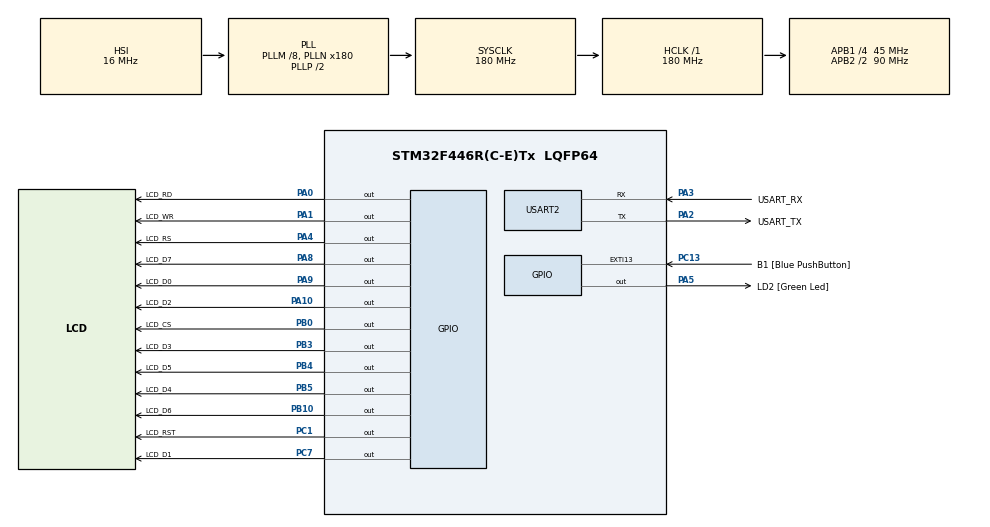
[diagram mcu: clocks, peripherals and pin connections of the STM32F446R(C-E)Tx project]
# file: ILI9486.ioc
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Mcu.Family=STM32F4
Mcu.Name=STM32F446R(C-E)Tx
Mcu.Package=LQFP64
NVIC.PriorityGroup=NVIC_PRIORITYGROUP_0
PA0-WKUP.GPIO_Label=LCD_RD
PA0-WKUP.Signal=GPIO_Output
PA1.GPIO_Label=LCD_WR
PA1.Signal=GPIO_Output
PA10.GPIO_Label=LCD_D2
PA10.Signal=GPIO_Output
PA13.GPIO_Label=TMS
PA13.Mode=Serial_Wire
PA13.Signal=SYS_JTMS-SWDIO
PA14.GPIO_Label=TCK
PA14.Mode=Serial_Wire
PA14.Signal=SYS_JTCK-SWCLK
PA2.GPIO_Label=USART_TX
PA2.Mode=Asynchronous
PA2.Signal=USART2_TX
PA3.GPIO_Label=USART_RX
PA3.Mode=Asynchronous
PA3.Signal=USART2_RX
PA4.GPIO_Label=LCD_RS
PA4.Signal=GPIO_Output
PA5.GPIO_Label=LD2 [Green Led]
PA5.Signal=GPIO_Output
PA8.GPIO_Label=LCD_D7
PA8.Signal=GPIO_Output
PA9.GPIO_Label=LCD_D0
PA9.Signal=GPIO_Output
PB0.GPIO_Label=LCD_CS
PB0.Signal=GPIO_Output
PB10.GPIO_Label=LCD_D6
PB10.Signal=GPIO_Output
PB3.GPIO_Label=LCD_D3
PB3.Signal=GPIO_Output
PB4.GPIO_Label=LCD_D5
PB4.Signal=GPIO_Output
PB5.GPIO_Label=LCD_D4
PB5.Signal=GPIO_Output
PC1.GPIO_Label=LCD_RST
PC1.Signal=GPIO_Output
PC13.GPIO_Label=B1 [Blue PushButton]
PC13.GPIO_ModeDefaultEXTI=GPIO_MODE_IT_FALLING
PC13.Signal=GPXTI13
PC14-OSC32_IN.Mode=LSE-External-Oscillator
PC14-OSC32_IN.Signal=RCC_OSC32_IN
PC15-OSC32_OUT.Mode=LSE-External-Oscillator
PC15-OSC32_OUT.Signal=RCC_OSC32_OUT
PC7.GPIO_Label=LCD_D1
PC7.Signal=GPIO_Output
PH0-OSC_IN.Mode=HSE-External-Oscillator
PH0-OSC_IN.Signal=RCC_OSC_IN
PH1-OSC_OUT.Mode=HSE-External-Oscillator
PH1-OSC_OUT.Signal=RCC_OSC_OUT
ProjectManager.HeapSize=0x200
ProjectManager.StackSize=0x400
ProjectManager.TargetToolchain=SW4STM32
RCC.48MHZClocksFreq_Value=84000000
RCC.AHBFreq_Value=180000000
RCC.APB1CLKDivider=RCC_HCLK_DIV4
RCC.APB1Freq_Value=45000000
RCC.APB1TimFreq_Value=90000000
RCC.APB2CLKDivider=RCC_HCLK_DIV2
RCC.APB2Freq_Value=90000000
RCC.APB2TimFreq_Value=180000000
RCC.CortexFreq_Value=180000000
RCC.FLatency-AdvancedSettings=FLASH_LATENCY_5
RCC.HCLKFreq_Value=180000000
RCC.HSE_VALUE=8000000
RCC.HSI_VALUE=16000000
RCC.PLLM=8
RCC.PLLN=180
RCC.SYSCLKFreq_VALUE=180000000
RCC.SYSCLKSource=RCC_SYSCLKSOURCE_PLLCLK
RCC.USBFreq_Value=180000000
RCC.VCOOutputFreq_Value=360000000
USART2.VirtualMode=VM_ASYNC
board=NUCLEO-F446RE

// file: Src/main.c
/* USER CODE BEGIN Header */
/**
  ******************************************************************************
  * @file           : main.c
  * @brief          : Main program body
  ******************************************************************************
  * @attention
  *
  * <h2><center>&copy; Copyright (c) 2020 STMicroelectronics.
  * All rights reserved.</center></h2>
  *
  * This software component is licensed by ST under BSD 3-Clause license,
  * the "License"; You may not use this file except in compliance with the
  * License. You may obtain a copy of the License at:
  *                        opensource.org/licenses/BSD-3-Clause
  *
  ******************************************************************************
  */
/* USER CODE END Header */

#include "main.h"

UART_HandleTypeDef huart2;

void SystemClock_Config(void);
static void MX_GPIO_Init(void);
static void MX_USART2_UART_Init(void);

/* USER CODE BEGIN 0 */
typedef struct
{
    uint16_t width;
    uint16_t height;
    uint16_t id;
    uint8_t  dir;
    uint16_t  wramcmd;
    uint16_t  rramcmd;
    uint16_t  setxcmd;
    uint16_t  setycmd;
}_lcd_dev;

_lcd_dev lcddev;

#define LCD_W 320
#define LCD_H 480

#define LCD_CS_SET  HAL_GPIO_WritePin(LCD_CS_GPIO_Port, LCD_CS_Pin, GPIO_PIN_SET);
#define LCD_RS_SET  HAL_GPIO_WritePin(LCD_RS_GPIO_Port, LCD_RS_Pin, GPIO_PIN_SET);
#define LCD_RST_SET HAL_GPIO_WritePin(LCD_RST_GPIO_Port, LCD_RST_Pin, GPIO_PIN_SET);
#define LCD_WR_SET  HAL_GPIO_WritePin(LCD_WR_GPIO_Port, LCD_WR_Pin, GPIO_PIN_SET);
#define LCD_RD_SET  HAL_GPIO_WritePin(LCD_RD_GPIO_Port, LCD_RD_Pin, GPIO_PIN_SET);

#define LCD_CS_CLR  HAL_GPIO_WritePin(LCD_CS_GPIO_Port, LCD_CS_Pin, GPIO_PIN_RESET);
#define LCD_RS_CLR  HAL_GPIO_WritePin(LCD_RS_GPIO_Port, LCD_RS_Pin, GPIO_PIN_RESET);
#define LCD_RST_CLR HAL_GPIO_WritePin(LCD_RST_GPIO_Port, LCD_RST_Pin, GPIO_PIN_RESET);
#define LCD_WR_CLR  HAL_GPIO_WritePin(LCD_WR_GPIO_Port, LCD_WR_Pin, GPIO_PIN_RESET);
#define LCD_RD_CLR  HAL_GPIO_WritePin(LCD_RD_GPIO_Port, LCD_RD_Pin, GPIO_PIN_RESET);

#define WHITE       0xFFFF
#define BLACK       0x0000
#define BLUE        0x001F
#define BRED        0XF81F
#define GRED        0XFFE0
#define GBLUE       0X07FF
#define RED         0xF800
#define MAGENTA     0xF81F
#define GREEN       0x07E0
#define CYAN        0x7FFF
#define YELLOW      0xFFE0
#define BROWN           0XBC40
#define BRRED           0XFC07
#define GRAY            0X8430

#define DARKBLUE         0X01CF
#define LIGHTBLUE        0X7D7C
#define GRAYBLUE         0X5458

#define LIGHTGREEN      0X841F
#define LIGHTGRAY     0XEF5B
#define LGRAY                   0XC618

#define LGRAYBLUE       0XA651
#define LBBLUE          0X2B12

void LCD_Init(void);
void LCD_write(uint16_t VAL);
void LCD_Clear(uint16_t Color);
void LCD_SetWindows(uint16_t xStar, uint16_t yStar,uint16_t xEnd,uint16_t yEnd);
void LCD_WR_REG(uint8_t data);
void LCD_WR_DATA(uint8_t data);
void LCD_WriteRAM_Prepare(void);
void Lcd_WriteData_16Bit(uint16_t Data);
void LCD_direction(uint8_t direction );

void LCD_write(uint16_t VAL)
{
    LCD_CS_CLR;
    HAL_GPIO_WritePin(LCD_D0_GPIO_Port, LCD_D0_Pin, (VAL & 0x01));
    HAL_GPIO_WritePin(GPIOC, GPIO_PIN_7, (VAL & 0x02)>>1);
    HAL_GPIO_WritePin(LCD_D2_GPIO_Port, LCD_D2_Pin, (VAL & 0x04)>>2);
    HAL_GPIO_WritePin(LCD_D3_GPIO_Port, LCD_D3_Pin, (VAL & 0x08)>>3);
    HAL_GPIO_WritePin(LCD_D4_GPIO_Port, LCD_D4_Pin, (VAL & 0x10)>>4);
    HAL_GPIO_WritePin(LCD_D5_GPIO_Port, LCD_D5_Pin, (VAL & 0x20)>>5);
    HAL_GPIO_WritePin(LCD_D6_GPIO_Port, LCD_D6_Pin, (VAL & 0x40)>>6);
    HAL_GPIO_WritePin(LCD_D7_GPIO_Port, LCD_D7_Pin, (VAL & 0x80)>>7);

    LCD_WR_CLR;
    LCD_WR_SET;
    LCD_CS_SET;
}

void LCD_WR_REG(uint8_t data)
{
   LCD_RS_CLR;
   LCD_write(data);
}

void LCD_WR_DATA(uint8_t data)
{
     LCD_RS_SET;
     LCD_write(data);
}

void LCD_WriteReg(uint8_t LCD_Reg, uint8_t LCD_RegValue)
{
    LCD_WR_REG(LCD_Reg);
    LCD_WR_DATA(LCD_RegValue);
}

void Lcd_WriteData_16Bit(uint16_t Data)
{
    LCD_RS_SET;
    LCD_write(Data >> 8);
    LCD_write(Data & 0xFF);
}

void LCD_Clear(uint16_t Color)
{
    unsigned int i;//,m;
    LCD_SetWindows(0,0,lcddev.width-1,lcddev.height-1);
    for(i=0;i<lcddev.height*lcddev.width;i++)
    {
        Lcd_WriteData_16Bit(Color);
    }
}

void LCD_RESET(void)
{
    LCD_RST_CLR;
    HAL_Delay(10);
    LCD_RST_SET;
    HAL_Delay(5);
}

void LCD_Init(void)
{
    LCD_RST_SET;
    LCD_RD_SET;
    LCD_CS_SET;
    LCD_WR_SET;
    LCD_CS_SET;

    LCD_RESET();
    LCD_WR_REG(0XF1);
    LCD_WR_DATA(0x36);
    LCD_WR_DATA(0x04);
    LCD_WR_DATA(0x00);
    LCD_WR_DATA(0x3C);
    LCD_WR_DATA(0X0F);
    LCD_WR_DATA(0x8F);
    LCD_WR_REG(0XF2);
    LCD_WR_DATA(0x18);
    LCD_WR_DATA(0xA3);
    LCD_WR_DATA(0x12);
    LCD_WR_DATA(0x02);
    LCD_WR_DATA(0XB2);
    LCD_WR_DATA(0x12);
    LCD_WR_DATA(0xFF);
    LCD_WR_DATA(0x10);
    LCD_WR_DATA(0x00);
    LCD_WR_REG(0XF8);
    LCD_WR_DATA(0x21);
    LCD_WR_DATA(0x04);
    LCD_WR_REG(0XF9);
    LCD_WR_DATA(0x00);
    LCD_WR_DATA(0x08);
    LCD_WR_REG(0x36);
    LCD_WR_DATA(0x08);
    LCD_WR_REG(0xB4);
    LCD_WR_DATA(0x00);
    LCD_WR_REG(0xC1);
    LCD_WR_DATA(0x41);
    LCD_WR_REG(0xC5);
    LCD_WR_DATA(0x00);
    LCD_WR_DATA(0x91);
    LCD_WR_DATA(0x80);
    LCD_WR_DATA(0x00);
    LCD_WR_REG(0xE0);
    LCD_WR_DATA(0x0F);
    LCD_WR_DATA(0x1F);
    LCD_WR_DATA(0x1C);
    LCD_WR_DATA(0x0C);
    LCD_WR_DATA(0x0F);
    LCD_WR_DATA(0x08);
    LCD_WR_DATA(0x48);
    LCD_WR_DATA(0x98);
    LCD_WR_DATA(0x37);
    LCD_WR_DATA(0x0A);
    LCD_WR_DATA(0x13);
    LCD_WR_DATA(0x04);
    LCD_WR_DATA(0x11);
    LCD_WR_DATA(0x0D);
    LCD_WR_DATA(0x00);
    LCD_WR_REG(0xE1);
    LCD_WR_DATA(0x0F);
    LCD_WR_DATA(0x32);
    LCD_WR_DATA(0x2E);
    LCD_WR_DATA(0x0B);
    LCD_WR_DATA(0x0D);
    LCD_WR_DATA(0x05);
    LCD_WR_DATA(0x47);
    LCD_WR_DATA(0x75);
    LCD_WR_DATA(0x37);
    LCD_WR_DATA(0x06);
    LCD_WR_DATA(0x10);
    LCD_WR_DATA(0x03);
    LCD_WR_DATA(0x24);
    LCD_WR_DATA(0x20);
    LCD_WR_DATA(0x00);
    LCD_WR_REG(0x3A);
    LCD_WR_DATA(0x55);
    LCD_WR_REG(0x11);
    LCD_WR_REG(0x36);
    LCD_WR_DATA(0x28);
    HAL_Delay(120);
    LCD_WR_REG(0x29);

    LCD_direction(1);
    //LCD_Clear(WHITE);
}

void LCD_WriteRAM_Prepare(void)
{
    LCD_WR_REG(lcddev.wramcmd);
}

void LCD_SetWindows(uint16_t xStar, uint16_t yStar,uint16_t xEnd,uint16_t yEnd)
{
    LCD_WR_REG(lcddev.setxcmd);
    LCD_WR_DATA(xStar>>8);
    LCD_WR_DATA(0x00FF&xStar);
    LCD_WR_DATA(xEnd>>8);
    LCD_WR_DATA(0x00FF&xEnd);

    LCD_WR_REG(lcddev.setycmd);
    LCD_WR_DATA(yStar>>8);
    LCD_WR_DATA(0x00FF&yStar);
    LCD_WR_DATA(yEnd>>8);
    LCD_WR_DATA(0x00FF&yEnd);

    LCD_WriteRAM_Prepare();
}

void LCD_direction(uint8_t direction)
{
    lcddev.setxcmd=0x2A;
    lcddev.setycmd=0x2B;
    lcddev.wramcmd=0x2C;
    lcddev.rramcmd=0x2E;
    switch(direction){
        case 0:
            lcddev.width=LCD_W;
            lcddev.height=LCD_H;
            LCD_WriteReg(0x36,(1<<6)|(1<<3));//0 degree MY=0,MX=0,MV=0,ML=0,BGR=1,MH=0
        break;
        case 1:
            lcddev.width=LCD_H;
            lcddev.height=LCD_W;
            LCD_WriteReg(0x36,(1<<3)|(1<<4)|(1<<5));//90 degree MY=0,MX=1,MV=1,ML=1,BGR=1,MH=0
        break;
        case 2:
            lcddev.width=LCD_W;
            lcddev.height=LCD_H;
            LCD_WriteReg(0x36,(1<<3)|(1<<7));//180 degree MY=1,MX=1,MV=0,ML=0,BGR=1,MH=0
        break;
        case 3:
            lcddev.width=LCD_H;
            lcddev.height=LCD_W;
            LCD_WriteReg(0x36,(1<<3)|(1<<5)|(1<<6)|(1<<7));//270 degree MY=1,MX=0,MV=1,ML=0,BGR=1,MH=0
        break;
        default:break;
    }
}

void LCD_Fill(uint16_t sx, uint16_t sy, uint16_t ex, uint16_t ey, uint16_t color)
{
    uint16_t i,j;
    uint16_t width=ex-sx+1;
    uint16_t height=ey-sy+1;
    LCD_SetWindows(sx,sy,ex,ey);
    for(i=0;i<height;i++)
    {
        for(j=0;j<width;j++)
        Lcd_WriteData_16Bit(color); //写入数�?�
    }
   // LCD_SetWindows(0,0,lcddev.width-1,lcddev.height-1);
}
/* USER CODE END 0 */

int main(void)
{

  /* MCU Configuration--------------------------------------------------------*/

  /* Reset of all peripherals, Initializes the Flash interface and the Systick. */
  HAL_Init();

  /* Configure the system clock */
  SystemClock_Config();

  /* Initialize all configured peripherals */
  MX_GPIO_Init();
  MX_USART2_UART_Init();
  /* USER CODE BEGIN 2 */

  LCD_Init();
  LCD_Clear(RED);
  LCD_Fill(50,50,200,200, BLUE);
  /* USER CODE END 2 */

  /* Infinite loop */
  while (1)
  {

    /* USER CODE BEGIN 3 */
      HAL_GPIO_TogglePin(LD2_GPIO_Port, LD2_Pin);
      HAL_Delay(500);
  }
  /* USER CODE END 3 */
}

void SystemClock_Config(void)
{
  RCC_OscInitTypeDef RCC_OscInitStruct = {0};
  RCC_ClkInitTypeDef RCC_ClkInitStruct = {0};

  /** Configure the main internal regulator output voltage
  */
  __HAL_RCC_PWR_CLK_ENABLE();
  __HAL_PWR_VOLTAGESCALING_CONFIG(PWR_REGULATOR_VOLTAGE_SCALE1);
  /** Initializes the CPU, AHB and APB busses clocks
  */
  RCC_OscInitStruct.OscillatorType = RCC_OSCILLATORTYPE_HSI;
  RCC_OscInitStruct.HSIState = RCC_HSI_ON;
  RCC_OscInitStruct.HSICalibrationValue = RCC_HSICALIBRATION_DEFAULT;
  RCC_OscInitStruct.PLL.PLLState = RCC_PLL_ON;
  RCC_OscInitStruct.PLL.PLLSource = RCC_PLLSOURCE_HSI;
  RCC_OscInitStruct.PLL.PLLM = 8;
  RCC_OscInitStruct.PLL.PLLN = 180;
  RCC_OscInitStruct.PLL.PLLP = RCC_PLLP_DIV2;
  RCC_OscInitStruct.PLL.PLLQ = 2;
  RCC_OscInitStruct.PLL.PLLR = 2;
  if (HAL_RCC_OscConfig(&RCC_OscInitStruct) != HAL_OK)
  {
    Error_Handler();
  }
  /** Activate the Over-Drive mode
  */
  if (HAL_PWREx_EnableOverDrive() != HAL_OK)
  {
    Error_Handler();
  }
  /** Initializes the CPU, AHB and APB busses clocks
  */
  RCC_ClkInitStruct.ClockType = RCC_CLOCKTYPE_HCLK|RCC_CLOCKTYPE_SYSCLK
                              |RCC_CLOCKTYPE_PCLK1|RCC_CLOCKTYPE_PCLK2;
  RCC_ClkInitStruct.SYSCLKSource = RCC_SYSCLKSOURCE_PLLCLK;
  RCC_ClkInitStruct.AHBCLKDivider = RCC_SYSCLK_DIV1;
  RCC_ClkInitStruct.APB1CLKDivider = RCC_HCLK_DIV4;
  RCC_ClkInitStruct.APB2CLKDivider = RCC_HCLK_DIV2;

  if (HAL_RCC_ClockConfig(&RCC_ClkInitStruct, FLASH_LATENCY_5) != HAL_OK)
  {
    Error_Handler();
  }
}

static void MX_USART2_UART_Init(void)
{

  huart2.Instance = USART2;
  huart2.Init.BaudRate = 115200;
  huart2.Init.WordLength = UART_WORDLENGTH_8B;
  huart2.Init.StopBits = UART_STOPBITS_1;
  huart2.Init.Parity = UART_PARITY_NONE;
  huart2.Init.Mode = UART_MODE_TX_RX;
  huart2.Init.HwFlowCtl = UART_HWCONTROL_NONE;
  huart2.Init.OverSampling = UART_OVERSAMPLING_16;
  if (HAL_UART_Init(&huart2) != HAL_OK)
  {
    Error_Handler();
  }

}

static void MX_GPIO_Init(void)
{
  GPIO_InitTypeDef GPIO_InitStruct = {0};

  /* GPIO Ports Clock Enable */
  __HAL_RCC_GPIOC_CLK_ENABLE();
  __HAL_RCC_GPIOH_CLK_ENABLE();
  __HAL_RCC_GPIOA_CLK_ENABLE();
  __HAL_RCC_GPIOB_CLK_ENABLE();

  /*Configure GPIO pin Output Level */
  HAL_GPIO_WritePin(GPIOC, LCD_RST_Pin|LCD_D1_Pin, GPIO_PIN_RESET);

  /*Configure GPIO pin Output Level */
  HAL_GPIO_WritePin(GPIOA, LCD_RD_Pin|LCD_WR_Pin|LCD_RS_Pin|LD2_Pin
                          |LCD_D7_Pin|LCD_D0_Pin|LCD_D2_Pin, GPIO_PIN_RESET);

  /*Configure GPIO pin Output Level */
  HAL_GPIO_WritePin(GPIOB, LCD_CS_Pin|LCD_D6_Pin|LCD_D3_Pin|LCD_D5_Pin
                          |LCD_D4_Pin, GPIO_PIN_RESET);

  /*Configure GPIO pin : B1_Pin */
  GPIO_InitStruct.Pin = B1_Pin;
  GPIO_InitStruct.Mode = GPIO_MODE_IT_FALLING;
  GPIO_InitStruct.Pull = GPIO_NOPULL;
  HAL_GPIO_Init(B1_GPIO_Port, &GPIO_InitStruct);

  /*Configure GPIO pins : LCD_RST_Pin LCD_D1_Pin */
  GPIO_InitStruct.Pin = LCD_RST_Pin|LCD_D1_Pin;
  GPIO_InitStruct.Mode = GPIO_MODE_OUTPUT_PP;
  GPIO_InitStruct.Pull = GPIO_NOPULL;
  GPIO_InitStruct.Speed = GPIO_SPEED_FREQ_VERY_HIGH;
  HAL_GPIO_Init(GPIOC, &GPIO_InitStruct);

  /*Configure GPIO pins : LCD_RD_Pin LCD_WR_Pin LCD_RS_Pin LD2_Pin
                           LCD_D7_Pin LCD_D0_Pin LCD_D2_Pin */
  GPIO_InitStruct.Pin = LCD_RD_Pin|LCD_WR_Pin|LCD_RS_Pin|LD2_Pin
                          |LCD_D7_Pin|LCD_D0_Pin|LCD_D2_Pin;
  GPIO_InitStruct.Mode = GPIO_MODE_OUTPUT_PP;
  GPIO_InitStruct.Pull = GPIO_NOPULL;
  GPIO_InitStruct.Speed = GPIO_SPEED_FREQ_VERY_HIGH;
  HAL_GPIO_Init(GPIOA, &GPIO_InitStruct);

  /*Configure GPIO pins : LCD_CS_Pin LCD_D6_Pin LCD_D3_Pin LCD_D5_Pin
                           LCD_D4_Pin */
  GPIO_InitStruct.Pin = LCD_CS_Pin|LCD_D6_Pin|LCD_D3_Pin|LCD_D5_Pin
                          |LCD_D4_Pin;
  GPIO_InitStruct.Mode = GPIO_MODE_OUTPUT_PP;
  GPIO_InitStruct.Pull = GPIO_NOPULL;
  GPIO_InitStruct.Speed = GPIO_SPEED_FREQ_VERY_HIGH;
  HAL_GPIO_Init(GPIOB, &GPIO_InitStruct);

}

void Error_Handler(void)
{
}

/************************ (C) COPYRIGHT STMicroelectronics *****END OF FILE****/
